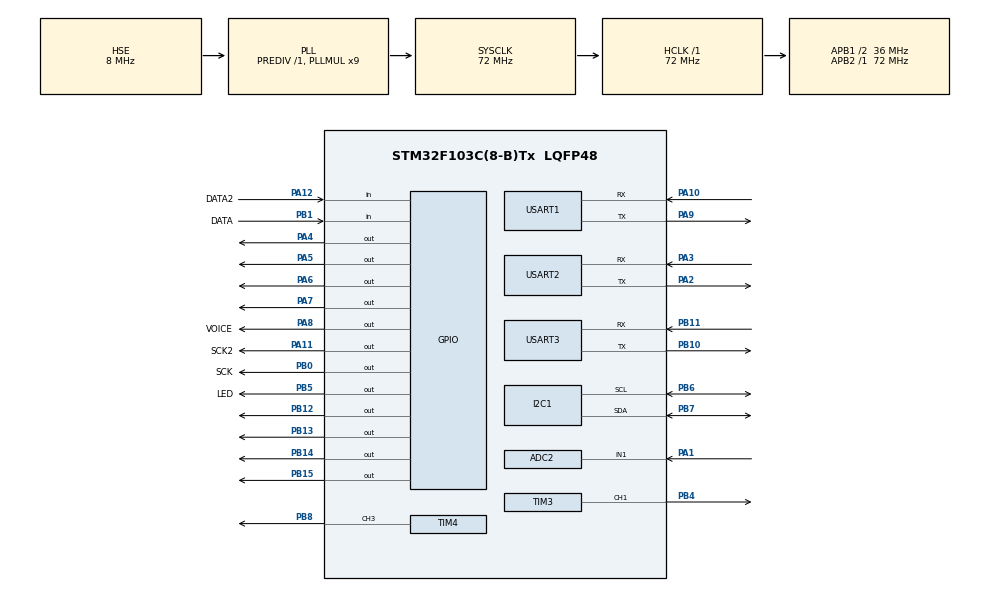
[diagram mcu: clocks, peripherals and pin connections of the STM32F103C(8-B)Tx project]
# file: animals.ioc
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ADC2.Channel-1\#ChannelRegularConversion=ADC_CHANNEL_1
ADC2.NbrOfConversionFlag=1
ADC2.Rank-1\#ChannelRegularConversion=1
ADC2.SamplingTime-1\#ChannelRegularConversion=ADC_SAMPLETIME_239CYCLES_5
Dma.Request0=USART3_RX
Dma.USART3_RX.0.Direction=DMA_PERIPH_TO_MEMORY
Dma.USART3_RX.0.Instance=DMA1_Channel3
Dma.USART3_RX.0.MemDataAlignment=DMA_MDATAALIGN_BYTE
Dma.USART3_RX.0.MemInc=DMA_MINC_ENABLE
Dma.USART3_RX.0.Mode=DMA_NORMAL
Dma.USART3_RX.0.PeriphDataAlignment=DMA_PDATAALIGN_BYTE
Dma.USART3_RX.0.PeriphInc=DMA_PINC_DISABLE
Dma.USART3_RX.0.Priority=DMA_PRIORITY_LOW
Mcu.Family=STM32F1
Mcu.Name=STM32F103C(8-B)Tx
Mcu.Package=LQFP48
NVIC.DMA1_Channel3_IRQn=true\:0\:0\:false\:false\:true\:false\:true\:true
NVIC.PriorityGroup=NVIC_PRIORITYGROUP_4
NVIC.USART1_IRQn=true\:0\:0\:false\:false\:true\:true\:true\:true
NVIC.USART2_IRQn=true\:0\:0\:false\:false\:true\:true\:true\:true
NVIC.USART3_IRQn=true\:0\:0\:false\:false\:true\:true\:true\:true
PA1.Signal=ADCx_IN1
PA10.Mode=Asynchronous
PA10.Signal=USART1_RX
PA11.GPIO_Label=SCK2
PA11.Signal=GPIO_Output
PA12.GPIO_Label=DATA2
PA12.Signal=GPIO_Input
PA13.Mode=Serial_Wire
PA13.Signal=SYS_JTMS-SWDIO
PA14.Mode=Serial_Wire
PA14.Signal=SYS_JTCK-SWCLK
PA2.Mode=Asynchronous
PA2.Signal=USART2_TX
PA3.Mode=Asynchronous
PA3.Signal=USART2_RX
PA4.PinState=GPIO_PIN_RESET
PA4.Signal=GPIO_Output
PA5.PinState=GPIO_PIN_RESET
PA5.Signal=GPIO_Output
PA6.PinState=GPIO_PIN_RESET
PA6.Signal=GPIO_Output
PA7.PinState=GPIO_PIN_RESET
PA7.Signal=GPIO_Output
PA8.GPIO_Label=VOICE
PA8.PinState=GPIO_PIN_SET
PA8.Signal=GPIO_Output
PA9.Mode=Asynchronous
PA9.Signal=USART1_TX
PB0.GPIO_Label=SCK
PB0.Signal=GPIO_Output
PB1.GPIO_Label=DATA
PB1.Signal=GPIO_Input
PB10.Mode=Asynchronous
PB10.Signal=USART3_TX
PB11.Mode=Asynchronous
PB11.Signal=USART3_RX
PB12.PinState=GPIO_PIN_RESET
PB12.Signal=GPIO_Output
PB13.PinState=GPIO_PIN_RESET
PB13.Signal=GPIO_Output
PB14.PinState=GPIO_PIN_RESET
PB14.Signal=GPIO_Output
PB15.PinState=GPIO_PIN_RESET
PB15.Signal=GPIO_Output
PB4.Signal=S_TIM3_CH1
PB5.GPIO_Label=LED
PB5.Signal=GPIO_Output
PB6.Mode=I2C
PB6.Signal=I2C1_SCL
PB7.Mode=I2C
PB7.Signal=I2C1_SDA
PB8.Signal=S_TIM4_CH3
PC14-OSC32_IN.Mode=LSE-External-Oscillator
PC14-OSC32_IN.Signal=RCC_OSC32_IN
PC15-OSC32_OUT.Mode=LSE-External-Oscillator
PC15-OSC32_OUT.Signal=RCC_OSC32_OUT
PD0-OSC_IN.Mode=HSE-External-Oscillator
PD0-OSC_IN.Signal=RCC_OSC_IN
PD1-OSC_OUT.Mode=HSE-External-Oscillator
PD1-OSC_OUT.Signal=RCC_OSC_OUT
ProjectManager.HeapSize=0x200
ProjectManager.StackSize=0x400
ProjectManager.TargetToolchain=MDK-ARM V5.32
RCC.ADCPresc=RCC_ADCPCLK2_DIV8
RCC.AHBFreq_Value=72000000
RCC.APB1CLKDivider=RCC_HCLK_DIV2
RCC.APB1Freq_Value=36000000
RCC.APB1TimFreq_Value=72000000
RCC.APB2Freq_Value=72000000
RCC.APB2TimFreq_Value=72000000
RCC.HCLKFreq_Value=72000000
RCC.PLLMUL=RCC_PLL_MUL9
RCC.PLLSourceVirtual=RCC_PLLSOURCE_HSE
RCC.SYSCLKFreq_VALUE=72000000
RCC.SYSCLKSource=RCC_SYSCLKSOURCE_PLLCLK
RCC.USBFreq_Value=72000000
SH.ADCx_IN1.0=ADC2_IN1,IN1
SH.S_TIM3_CH1.0=TIM3_CH1,PWM Generation1 CH1
SH.S_TIM4_CH3.0=TIM4_CH3,PWM Generation3 CH3
TIM1.AutoReloadPreload=TIM_AUTORELOAD_PRELOAD_DISABLE
TIM1.Prescaler=72-1
TIM3.AutoReloadPreload=TIM_AUTORELOAD_PRELOAD_ENABLE
TIM3.Channel-PWM\ Generation1\ CH1=TIM_CHANNEL_1
TIM3.Period=100
TIM3.Prescaler=71
TIM3.Pulse-PWM\ Generation1\ CH1=50
TIM4.AutoReloadPreload=TIM_AUTORELOAD_PRELOAD_ENABLE
TIM4.Channel-PWM\ Generation3\ CH3=TIM_CHANNEL_3
TIM4.Period=100
TIM4.Prescaler=71
TIM4.Pulse-PWM\ Generation3\ CH3=50
USART1.VirtualMode=VM_ASYNC
USART2.VirtualMode=VM_ASYNC
USART3.VirtualMode=VM_ASYNC
VP_TIM1_VS_ClockSourceINT.Mode=Internal
VP_TIM3_VS_ClockSourceINT.Mode=Internal
VP_TIM4_VS_ClockSourceINT.Mode=Internal
board=custom

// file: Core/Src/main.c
/* USER CODE BEGIN Header */
/**
  ******************************************************************************
  * @file           : main.c
  * @brief          : Main program body
  ******************************************************************************
  * @attention
  *
  * Copyright (c) 2025 STMicroelectronics.
  * All rights reserved.
  *
  * This software is licensed under terms that can be found in the LICENSE file
  * in the root directory of this software component.
  * If no LICENSE file comes with this software, it is provided AS-IS.
  *
  ******************************************************************************
  */
/* USER CODE END Header */
#include "main.h"
#include "adc.h"
#include "dma.h"
#include "i2c.h"
#include "tim.h"
#include "usart.h"
#include "gpio.h"

/* USER CODE BEGIN Includes */
#include "headfile.h"
/* USER CODE END Includes */

/* USER CODE BEGIN PD */
#define WATER_VALUE 1400
/* USER CODE END PD */

/* USER CODE BEGIN PV */
/*识别动物类别*/
volatile int animals_flag=2;
/*喂食时间变量*/
unsigned char Send_Time = 0;
/*水位设置*/
uint32_t water_data=0;
/*猫狗对应的秤的数据*/
int Cat_First_weight=0,Cat_weight=0,
		Dog_First_weight=0,Dog_weight=0;
/*喂食次数，二者叠加*/
int feed_time=0;
unsigned char feed_flag=0;
/*模拟空调开闭*/
int LED_flag=0;
/*k210数据接收*/
char k210_str[10];
/* USER CODE END PV */

void SystemClock_Config(void);

/* USER CODE BEGIN 0 */
void Send_Onenet_Data()
{
	if(Send_Time>1)
	{
		Get_Send_Pack("Feed",feed_time, 1);
		Get_Send_Pack("cat",app_data.Cat_data, 1);
		Get_Send_Pack("Food",Cat_weight, 1);
		Get_Send_Pack("dogFood",Dog_weight, 1);
	  Get_Send_Pack("dog",app_data.Dog_data, 0);

    SendData_Onenet();
    HAL_Delay(50);

		Get_Send_Pack("Cat_Food_F",app_data.Cat_Food_F_data, 1);
    Get_Send_Pack("dogFood_F",app_data.Dog_Food_F_data, 1);
		Get_Send_Pack("Water",water_data, 1);
		Get_Send_Pack("Water_F",app_data.Water_F_data, 0);
		SendData_Onenet();
    HAL_Delay(50);

		Get_Send_Pack("temp",Data[2], 1);
		Get_Send_Pack("temp_f",app_data.temp_F_data,0);

    SendData_Onenet();
		Send_Time=0;
	}
}
/* USER CODE END 0 */

int main(void)
{

  /* MCU Configuration--------------------------------------------------------*/

  /* Reset of all peripherals, Initializes the Flash interface and the Systick. */
  HAL_Init();

  /* Configure the system clock */
  SystemClock_Config();

  /* Initialize all configured peripherals */
  MX_GPIO_Init();
  MX_DMA_Init();
  MX_ADC2_Init();
  MX_I2C1_Init();
  MX_USART1_UART_Init();
  MX_TIM1_Init();
  MX_USART3_UART_Init();
  MX_TIM4_Init();
  MX_TIM3_Init();
  MX_USART2_UART_Init();
  /* USER CODE BEGIN 2 */
	HAL_UART_Receive_IT(&huart2,k210_str,1);

	Cat_First_weight=Get_Weight_l();
	Dog_First_weight=Get_Weight();
	OLED_Init();
	OLED_Clear();
	OLED_ShowString(0,2,"Waiting....",16);
	APP_Data_Init();
	Onenet_Init();
	OLED_Clear();
  /* USER CODE END 2 */

  /* Infinite loop */
  /* USER CODE BEGIN WHILE */
  char test_str[20];

	while (1)
  {//HAL_GPIO_WritePin(GPIOA,VOICE_Pin,1);
		Send_Time++;
		/*压力检测*/
		/*猫粮称重*/
		Cat_weight=-(-Get_Weight_l()+Cat_First_weight);
		Cat_weight-=1590;

		if(Cat_weight<0)
			Cat_weight=0;
		Cat_weight/=10;
		/*狗粮称重*/
		Dog_weight=-(-Get_Weight()+Dog_First_weight);
		if(Dog_weight<0)
			Dog_weight=0;
		Dog_weight/=10;
		/*温度检测*/
		if(DHT_Read())
			HAL_Delay(100);

		/*水位检测*/
		HAL_ADC_Start(&hadc2) ;
		water_data=HAL_ADC_GetValue(&hadc2);
		water_data=40-water_data/100;
		/*动物出现判断*/
		/******************************/
		if(animals_flag==0)//当检测到猫
		{	app_data.Cat_data=1;
			app_data.Dog_data=0;
			HAL_GPIO_WritePin(GPIOA,VOICE_Pin,0);
//				HAL_GPIO_WritePin(GPIOA,VOICE_Pin,1);
//  			HAL_Delay(200);
//  			HAL_GPIO_WritePin(GPIOA,VOICE_Pin,0);
			OLED_ShowString(0,7,"cat",8);
			/*播放音乐*/

			HAL_Delay(20);
			/*水位低于阈值*/
			if(water_data<app_data.Water_F_data)
				HAL_TIM_PWM_Start(&htim3,TIM_CHANNEL_1);
			else
				HAL_TIM_PWM_Stop(&htim3,TIM_CHANNEL_1);
			/*重量低于阈值*/

			HAL_GPIO_WritePin(GPIOA,VOICE_Pin,1);
			if(Cat_weight<app_data.Cat_Food_F_data)
			{
				Step_MOTOR_Start(10,1);
				if(feed_flag==0)
				{
					feed_time++;
					feed_flag=1;
				}
			}
			else
			{
				Step_MOTOR_Stop();//电机停止
				feed_flag=0;
			}
			//温度是否在阈值范围内
			if(Data[2]>app_data.temp_F_data)
			{
				HAL_GPIO_WritePin(GPIOB,LED_Pin,1);
				LED_flag=1;
			}
			else
			{
				HAL_GPIO_WritePin(GPIOB,LED_Pin,0);
				LED_flag=0;
			}
		}
		else if(animals_flag==1)//当检测到狗
		{
			app_data.Dog_data=1;
			app_data.Cat_data=0;
			HAL_GPIO_WritePin(GPIOA,VOICE_Pin,0);
			OLED_ShowString(0,7,"dog",8);
			/*播放音乐*/
			HAL_GPIO_WritePin(GPIOA,VOICE_Pin,0);
			HAL_Delay(20);
			/*水位低于阈值*/
			if(water_data<app_data.Water_F_data)
				HAL_TIM_PWM_Start(&htim3,TIM_CHANNEL_1);
			else
				HAL_TIM_PWM_Stop(&htim3,TIM_CHANNEL_1);
			/*重量低于阈值*/
			HAL_GPIO_WritePin(GPIOA,VOICE_Pin,1);
			if(Dog_weight<app_data.Dog_Food_F_data)
			{
				r_Step_MOTOR_Start(50,1);
				if(feed_flag==0)
				{
					feed_time++;
					feed_flag=1;
				}
			}
			else
			{
				r_Step_MOTOR_Stop();//电机停止
				feed_flag=0;
			}
			//温度是否在阈值范围内
			if(Data[2]>app_data.temp_F_data)
			{
				HAL_GPIO_WritePin(GPIOB,LED_Pin,1);
				LED_flag=1;
			}
			else
			{
				HAL_GPIO_WritePin(GPIOB,LED_Pin,0);
				LED_flag=0;
			}
		}
		else
		{
			/*关闭语音*/
			//HAL_GPIO_WritePin(GPIOA,VOICE_Pin,1);
			/*关闭续水*/
			HAL_TIM_PWM_Stop(&htim4,TIM_CHANNEL_3);
			/*关闭续粮*/
			Step_MOTOR_Stop();//电机停止
			r_Step_MOTOR_Stop();//电机停止
			/*关闭模拟空调*/
			HAL_GPIO_WritePin(GPIOB,LED_Pin,0);
		}
		show_str(Cat_weight,Dog_weight,water_data,Data[2]);
		/*数据汇总发送*/
		Send_Onenet_Data();

    /* USER CODE END WHILE */

  }
}

void SystemClock_Config(void)
{
  RCC_OscInitTypeDef RCC_OscInitStruct = {0};
  RCC_ClkInitTypeDef RCC_ClkInitStruct = {0};
  RCC_PeriphCLKInitTypeDef PeriphClkInit = {0};

  /** Initializes the RCC Oscillators according to the specified parameters
  * in the RCC_OscInitTypeDef structure.
  */
  RCC_OscInitStruct.OscillatorType = RCC_OSCILLATORTYPE_HSE;
  RCC_OscInitStruct.HSEState = RCC_HSE_ON;
  RCC_OscInitStruct.HSEPredivValue = RCC_HSE_PREDIV_DIV1;
  RCC_OscInitStruct.HSIState = RCC_HSI_ON;
  RCC_OscInitStruct.PLL.PLLState = RCC_PLL_ON;
  RCC_OscInitStruct.PLL.PLLSource = RCC_PLLSOURCE_HSE;
  RCC_OscInitStruct.PLL.PLLMUL = RCC_PLL_MUL9;
  if (HAL_RCC_OscConfig(&RCC_OscInitStruct) != HAL_OK)
  {
    Error_Handler();
  }

  /** Initializes the CPU, AHB and APB buses clocks
  */
  RCC_ClkInitStruct.ClockType = RCC_CLOCKTYPE_HCLK|RCC_CLOCKTYPE_SYSCLK
                              |RCC_CLOCKTYPE_PCLK1|RCC_CLOCKTYPE_PCLK2;
  RCC_ClkInitStruct.SYSCLKSource = RCC_SYSCLKSOURCE_PLLCLK;
  RCC_ClkInitStruct.AHBCLKDivider = RCC_SYSCLK_DIV1;
  RCC_ClkInitStruct.APB1CLKDivider = RCC_HCLK_DIV2;
  RCC_ClkInitStruct.APB2CLKDivider = RCC_HCLK_DIV1;

  if (HAL_RCC_ClockConfig(&RCC_ClkInitStruct, FLASH_LATENCY_2) != HAL_OK)
  {
    Error_Handler();
  }
  PeriphClkInit.PeriphClockSelection = RCC_PERIPHCLK_ADC;
  PeriphClkInit.AdcClockSelection = RCC_ADCPCLK2_DIV8;
  if (HAL_RCCEx_PeriphCLKConfig(&PeriphClkInit) != HAL_OK)
  {
    Error_Handler();
  }
}

/* USER CODE BEGIN 4 */
void HAL_UART_RxCpltCallback(UART_HandleTypeDef *huart)
{
    if (huart->Instance == USART2)
    {

        char c = k210_str[0];

        if (c == '0')
        {
            animals_flag = 0;//HAL_UART_Transmit(&huart1, (uint8_t*)&c, 1, 100);
        }
        else if (c == '1')
        {
            animals_flag = 1;//HAL_UART_Transmit(&huart1, (uint8_t*)&c, 1, 100);
        }
//        else
//        {
//            animals_flag = 2;
//        }

        HAL_UART_Receive_IT(&huart2, k210_str, 1);
    }
}
/* USER CODE END 4 */

void Error_Handler(void)
{
  __disable_irq();
  while (1)
  {
  }
}
